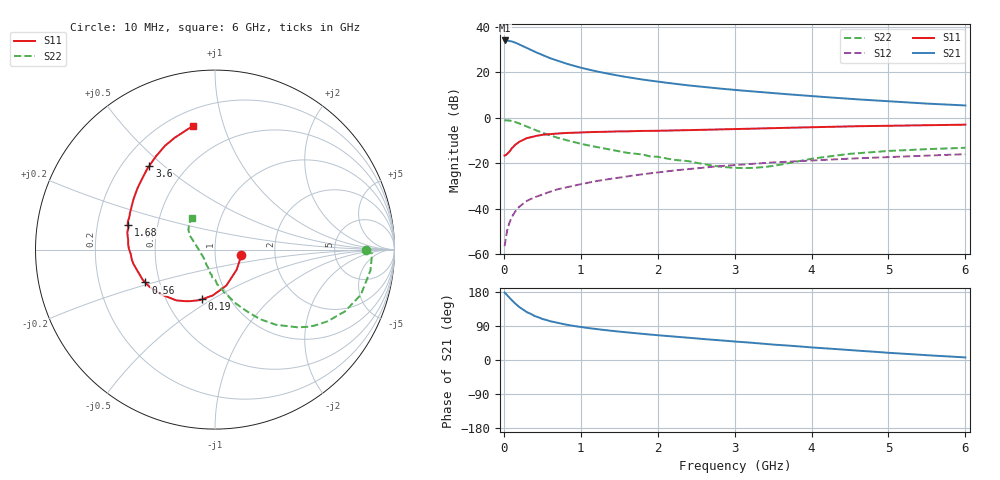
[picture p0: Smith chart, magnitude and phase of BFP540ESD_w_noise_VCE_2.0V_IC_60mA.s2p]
! Infineon Technologies  Discrete & RF Semiconductors
! BFP540ESD
! VCE =  2.0 V,  IC =  60 mA
! Common Emitter S-Parameters:  Nov 2015
# GHz  S  MA  R  50
!  f  S11  S21  S12  S22
! GHz  MAG  ANG  MAG  ANG  MAG  ANG  MAG  ANG
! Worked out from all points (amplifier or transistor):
!   210 points, 10 MHz to 6 GHz, reference 50 ohm
!   highest |S21| = 33.9 dB at 10 MHz (marker M1)
!   |S21| within 3 dB of that: start of sweep to 280.9 MHz
!   unconditionally stable (mu >= 1): start of sweep to 26.89 MHz; 1.187 GHz to end of sweep
!   at 185 MHz: K = 0.46, MSG = 36.1 dB, |S12| = -39.7 dB
!   at 1.52 GHz: K = 1.07, MAG = 20.7 dB, |S12| = -26.3 dB
!   at 6 GHz: K = 1.13, MAG = 8.5 dB, |S12| = -16.1 dB
!   lowest NFmin = 2.01 dB at 900 MHz
!   S11 on the Smith chart (normalised r, x): 10 MHz: 1.33, -0.08; 190 MHz: 0.75, -0.45; 560 MHz: 0.42, -0.19; 1.68 GHz: 0.33, +0.12; 3.6 GHz: 0.31, +0.45; 6 GHz: 0.29, +0.79
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0.01  0.147 -11.6  49.45 178.0  0.0015 111.2  0.841 -0.2
0.02  0.1499 -20.8  49.25 176.2  0.0019 102.4  0.8758 -1.5
0.05  0.1647 -42.9  49.22 169.3  0.0037 87.8  0.8737 -7.7
0.1  0.2095 -72.3  47.3 158.4  0.0063 77.3  0.8506 -17.2
0.15  0.2553 -92.6  44.28 148.5  0.0087 75.2  0.8019 -25.4
0.19  0.2851 -104.4  41.36 141.7  0.0105 72.6  0.7544 -31.0
0.24  0.319 -115.8  37.78 134.1  0.0124 68.7  0.6991 -37.2
0.3  0.3552 -127.1  33.79 126.2  0.0148 67.6  0.6324 -43.2
0.4  0.3908 -140.3  28.02 116.1  0.0177 65.3  0.5389 -51.0
0.5  0.4192 -150.2  23.7 108.4  0.0204 63.8  0.4634 -56.9
0.56  0.4289 -154.7  21.6 105.1  0.0223 64.1  0.4286 -59.3
0.64  0.4398 -160.0  19.19 100.7  0.0248 64.6  0.3876 -62.6
0.78  0.456 -167.8  15.95 94.4  0.0285 64.3  0.3302 -67.9
1.02  0.4718 -177.7  12.25 86.5  0.035 63.7  0.2618 -75.0
1.3  0.4867 173.7  9.597 79.3  0.0427 63.6  0.2097 -81.7
1.68  0.5046 164.2  7.375 71.2  0.0534 61.3  0.1633 -93.1
2.02  0.5156 156.9  6.093 65.0  0.063 59.0  0.136 -100.9
3.1  0.564 136.6  3.922 47.4  0.0929 49.4  0.0779 -148.4
3.6  0.5931 128.1  3.341 39.4  0.1057 44.6  0.0928 177.7
4.1  0.6206 120.8  2.884 31.9  0.1166 39.8  0.1313 158.2
5.1  0.666 108.6  2.232 17.8  0.1378 30.3  0.1883 141.5
6  0.6994 100.1  1.847 6.8  0.1571 22.9  0.2174 126.8
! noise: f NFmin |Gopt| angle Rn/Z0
0.9  2.01  0.53  -140  0.17
1.8  2.16  0.55  -142  0.17
2.4  2.22  0.56  -131  0.22
3  2.36  0.58  -122  0.31
4  2.43  0.64  -102  0.57
5  2.56  0.7  -86  0.85
6  3.02  0.65  -82  1.34
